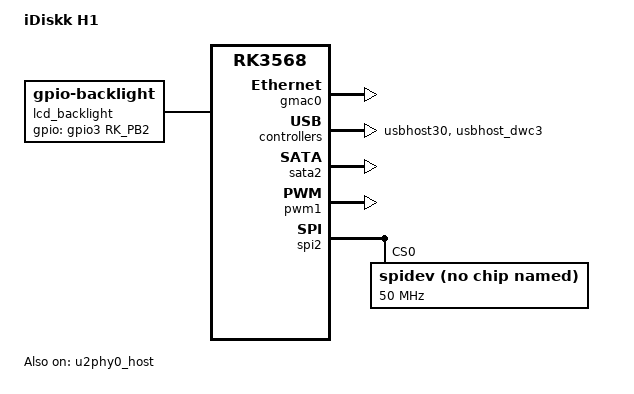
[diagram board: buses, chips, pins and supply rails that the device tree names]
/dts-v1/;

#include "rk3568-linkease.dtsi"
#include "../rockchip-drm-vvop.dtsi"

/ {
	compatible = "idiskk,h1", "rockchip,rk3568";
	model = "iDiskk H1";
	aliases {
		lcd-backlight = &lcd_backlight;
	};

	lcd_backlight: lcd-backlight {
		compatible = "gpio-backlight";
		gpios = <&gpio3 RK_PB2 GPIO_ACTIVE_HIGH>;
	};
};

// NETWORK
&gmac0 {
    status = "okay";
};

// USB2 PHY0 port1 USB3_HOST1_D
&u2phy0_host {
	status = "okay";
};

// MULTI_PHY1
// USB3_HOST1 phy &u2phy0_host
&usbhost30 {
	status = "okay";
};

&usbhost_dwc3 {
	status = "okay";
};

// MULTI_PHY2
&sata2 {
	status = "okay";
};

&pwm_leds {
	led-blue {
		label = "blue";
		pwms = <&pwm1 0 50000 0>;
		max-brightness = <255>;
	};
};

&pwm1 {
	status = "okay";
};

&spi2 {
	num-cs = <1>;
	pinctrl-0 = <&spi2m1_cs0 &spi2m1_pins>;
	pinctrl-1 = <&spi2m1_cs0 &spi2m1_pins_hs>;
	status = "okay";
	lcd@0 {
		status = "disabled";
		compatible = "sitronix,st7789v";
		reg = <0>;
		spi-max-frequency = <32000000>;   //SPI时钟32M
		// spi-cpol;
		// spi-cpha;
		rotate = <90>;                    //屏幕旋转90度
		// width = <210>;
		// height = <320>;
		rgb;                           //颜色格式RGB
		fps = <30>;                      //刷新30帧率
		// regwidth = <8>;
		buswidth = <8>;                   //总线宽度8
		pinctrl-names = "default";
		pinctrl-0 = <&spi_lcd_pins>;
		reset-gpios = <&gpio3 RK_PB3 GPIO_ACTIVE_LOW>;
		dc-gpios = <&gpio3 RK_PB4 GPIO_ACTIVE_HIGH>;
		debug = <0>;                     //不开启调试
		backlight = <&lcd_backlight>;
		power-supply = <&vcc3v3_sys>;
	};
	spidev@0 {
		compatible = "rockchip,spidev";
		reg = <0>;
		spi-max-frequency = <50000000>;
		pinctrl-names = "default";
		pinctrl-0 = <&spi_lcd_pins>;
		status = "okay";
	};
};
